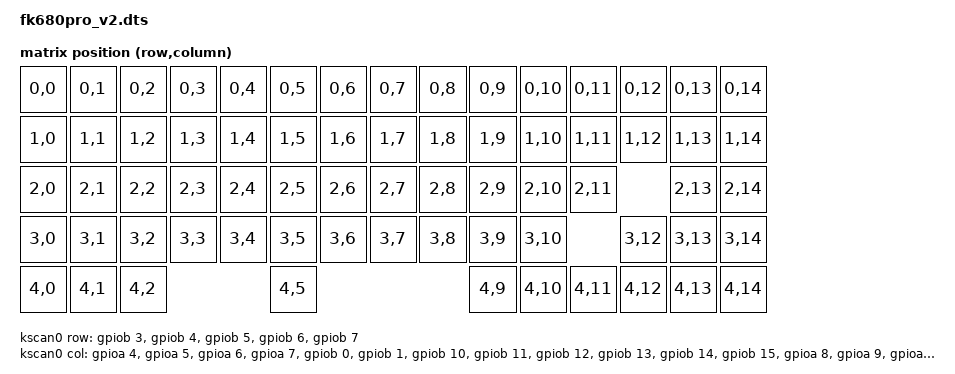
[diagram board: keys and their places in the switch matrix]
/*
* Copyright (c) 2023 The ZMK Contributors
* SPDX-License-Identifier: MIT
*/

/dts-v1/;

#include <st/f1/stm32f103Xb.dtsi>
#include <st/f1/stm32f103c(8-b)tx-pinctrl.dtsi>
// #include <zephyr/dt-bindings/led/led.h>
#include <dt-bindings/zmk/matrix_transform.h>

/ {

    chosen {
        zephyr,sram = &sram0;
        zephyr,flash = &flash0;
        zephyr,console = &cdc_acm_uart;
        zephyr,shell-uart = &cdc_acm_uart;
        zephyr,code-partition = &code_partition;
        zmk,matrix_transform = &default_transform;
        zmk,kscan = &kscan0;
        /* TODO */
        // zmk,underglow = &led_strip;
    };

    default_transform: keymap_transform_0 {
        compatible = "zmk,matrix-transform";
        columns = <15>;
        rows = <5>;
        map = <
        RC(0,0) RC(0,1) RC(0,2) RC(0,3) RC(0,4) RC(0,5) RC(0,6) RC(0,7) RC(0,8) RC(0,9) RC(0,10) RC(0,11) RC(0,12) RC(0,13) RC(0,14)
        RC(1,0) RC(1,1) RC(1,2) RC(1,3) RC(1,4) RC(1,5) RC(1,6) RC(1,7) RC(1,8) RC(1,9) RC(1,10) RC(1,11) RC(1,12) RC(1,13) RC(1,14)
        RC(2,0) RC(2,1) RC(2,2) RC(2,3) RC(2,4) RC(2,5) RC(2,6) RC(2,7) RC(2,8) RC(2,9) RC(2,10) RC(2,11)          RC(2,13) RC(2,14)
        RC(3,0) RC(3,1) RC(3,2) RC(3,3) RC(3,4) RC(3,5) RC(3,6) RC(3,7) RC(3,8) RC(3,9) RC(3,10)          RC(3,12) RC(3,13) RC(3,14)
        RC(4,0) RC(4,1) RC(4,2)                 RC(4,5)                         RC(4,9) RC(4,10) RC(4,11) RC(4,12) RC(4,13) RC(4,14)
        >;
    };

    kscan0: kscan {
        compatible = "zmk,kscan-gpio-matrix";
        diode-direction = "col2row";
        row-gpios
        = <&gpiob 3 (GPIO_ACTIVE_HIGH | GPIO_PULL_DOWN)>
        , <&gpiob 4 (GPIO_ACTIVE_HIGH | GPIO_PULL_DOWN)>
        , <&gpiob 5 (GPIO_ACTIVE_HIGH | GPIO_PULL_DOWN)>
        , <&gpiob 6 (GPIO_ACTIVE_HIGH | GPIO_PULL_DOWN)>
        , <&gpiob 7 (GPIO_ACTIVE_HIGH | GPIO_PULL_DOWN)>
        ;
        col-gpios
        = <&gpioa 4 GPIO_ACTIVE_HIGH>
        , <&gpioa 5 GPIO_ACTIVE_HIGH>
        , <&gpioa 6 GPIO_ACTIVE_HIGH>
        , <&gpioa 7 GPIO_ACTIVE_HIGH>
        , <&gpiob 0 GPIO_ACTIVE_HIGH>
        , <&gpiob 1 GPIO_ACTIVE_HIGH>
        , <&gpiob 10 GPIO_ACTIVE_HIGH>
        , <&gpiob 11 GPIO_ACTIVE_HIGH>
        , <&gpiob 12 GPIO_ACTIVE_HIGH>
        , <&gpiob 13 GPIO_ACTIVE_HIGH>
        , <&gpiob 14 GPIO_ACTIVE_HIGH>
        , <&gpiob 15 GPIO_ACTIVE_HIGH>
        , <&gpioa 8 GPIO_ACTIVE_HIGH>
        , <&gpioa 9 GPIO_ACTIVE_HIGH>
        , <&gpioa 10 GPIO_ACTIVE_HIGH>
        ;
    };

    /*
    * TODO zephyr's gpio dirver is supported only for SOC_SERIES_NRF51X
    */
    /*
	led_strip: ws2812 {
		compatible = "worldsemi,ws2812-gpio";
		chain-length = <110>; // matrix 70 + underglow 40
		color-mapping = <LED_COLOR_ID_GREEN	LED_COLOR_ID_RED LED_COLOR_ID_BLUE>;
		in-gpios = <&gpioa 15 GPIO_ACTIVE_HIGH>;
	};
    */
};

&pinctrl {
    /*
    * Configures number of pins assigned to the SWJ debug port.
    *
    *    * full         - Full SWJ (JTAG-DP + SW-DP).
    *    * no-njtrst    - Full SWJ (JTAG-DP + SW-DP) but without NJTRST.
    *                     Releases: PB4.
    *    * jtag-disable - JTAG-DP Disabled and SW-DP Enabled.
    *                     Releases: PA15 PB3 PB4.
    *    * disable      - JTAG-DP Disabled and SW-DP Disabled.
    *                     Releases: PA13 PA14 PA15 PB3 PB4.
    *
    *  If absent, then Full SWJ (JTAG-DP + SW-DP) is used (reset state).
    */
    swj-cfg = "jtag-disable";
};

&clk_hse {
	clock-frequency = <DT_FREQ_M(8)>;
	status = "okay";
};

&pll {
	mul = <9>;
	clocks = <&clk_hse>;
	status = "okay";
};

&rcc {
	clocks = <&pll>;
	clock-frequency = <DT_FREQ_M(72)>;
	ahb-prescaler = <1>;
	apb1-prescaler = <2>;
	apb2-prescaler = <1>;
	status = "okay";
};

&flash0 {
    partitions {
        compatible = "fixed-partitions";
        #address-cells = <1>;
        #size-cells = <1>;

        /*
        * uf2-stm32f103 bootloader
        * https://github.com/mmoskal/uf2-stm32f103
        */
        boot_partition: partition@0 {
            label = "bootloader";
            reg = <0x0 DT_SIZE_K(16)>;
            read-only;
        };

        code_partition: partition@4000 {
            label = "code";
            reg = <DT_SIZE_K(16) (DT_SIZE_K(128) - DT_SIZE_K(16) - DT_SIZE_K(8))>;
            read-only;
        };

        /*
        * Set 8Kb of storage at the end of the 128Kb of flash
        */
        storage_partition: partition@1e000 {
            label = "storage";
            reg = <(DT_SIZE_K(128) - DT_SIZE_K(8)) DT_SIZE_K(8)>;
        };
    };
};

&usb {
	status = "okay";
	pinctrl-0 = <&usb_dm_pa11 &usb_dp_pa12>;
	pinctrl-names = "default";
    cdc_acm_uart: cdc_acm_uart {
        compatible = "zephyr,cdc-acm-uart";
    };
};

/*
* TODO PWM driver for ws2812 RGB LEDs
*/
/*
&timers2 {
    status = "okay";
    pwm2: pwm {
        status = "okay";
        pinctrl-0 = <&tim2_ch1_remap1_pwm_pa15>;
        pinctrl-names = "default";
    };
};
*/
